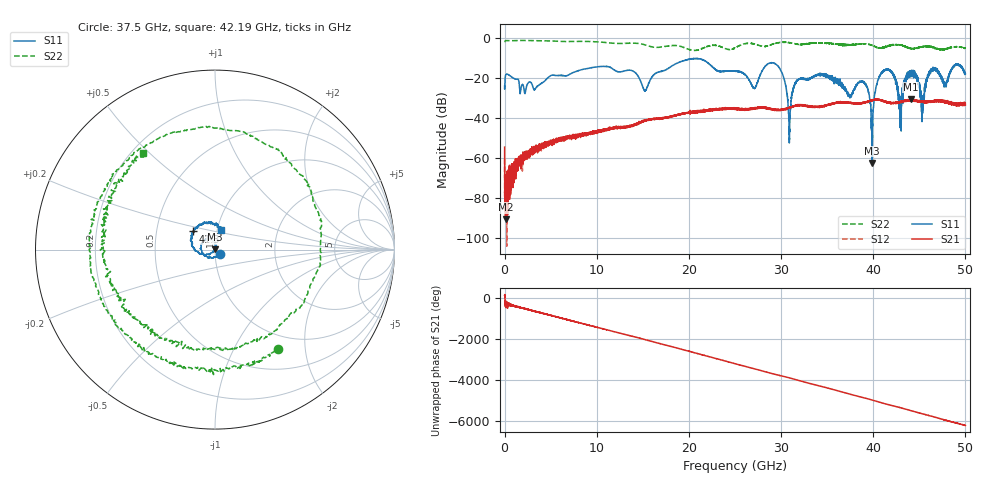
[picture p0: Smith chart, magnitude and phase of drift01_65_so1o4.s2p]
!Created with skrf (http://scikit-rf.org).
# Hz S RI R 50.0
!freq ReS11 ImS11 ReS21 ImS21 ReS12 ImS12 ReS22 ImS22
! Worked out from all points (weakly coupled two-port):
!   10001 points, 300 kHz to 50 GHz, reference 50 ohm
!   highest |S21| = -30.50 dB at 44.05 GHz (marker M1); lowest = -90.4 dB at 100.3 MHz (marker M2)
!   lowest |S11| = -62.4 dB at 39.89 GHz (marker M3), VSWR 1.00, Z = 50 + j0.0681 ohm
!   |S11| at or under -10 dB: start of sweep to end of sweep
!   |S22| runs from -6.4 to -1.4 dB; largest |S21 - S12| = 0.004
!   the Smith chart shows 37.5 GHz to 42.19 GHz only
!   S11 on the Smith chart (normalised r, x): 37.5 GHz: 1.06, -0.05; 41.3 GHz: 0.77, +0.16; 42.19 GHz: 1.04, +0.23
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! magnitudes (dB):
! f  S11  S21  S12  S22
! 300 kHz  -24.1  -54.5  -60.2  -2.1
! 100.3 MHz  -18.8  -90.4  -73.0  -1.5
! 8.335 GHz  -15.9  -48.3  -48.2  -1.8
! 15.23 GHz  -26.5  -41.3  -41.3  -3.5
! 16.67 GHz  -17.1  -40.5  -40.3  -4.8
! 25 GHz  -16.6  -35.7  -35.3  -5.0
! 27.09 GHz  -25.2  -35.1  -35.2  -3.0
! 29.44 GHz  -13.2  -35.8  -36.0  -2.7
! 30.92 GHz  -48.4  -34.8  -34.8  -2.5
! 31.67 GHz  -21.8  -33.6  -33.6  -3.2
! 33.34 GHz  -19.7  -34.4  -34.4  -2.7
! 37.5 GHz  -29.0  -32.5  -32.5  -3.7
! 38.99 GHz  -22.2  -32.5  -32.4  -3.1
! 39.89 GHz  -62.4  -31.1  -31.0  -3.8
! 41.3 GHz  -16.1  -31.9  -31.9  -4.5
! 41.67 GHz  -15.7  -32.2  -32.5  -4.0
! 42.19 GHz  -18.8  -32.6  -32.6  -3.5
! 42.97 GHz  -33.2  -32.2  -32.0  -3.6
! 44.05 GHz  -18.1  -30.5  -31.0  -5.3
! 45.31 GHz  -41.6  -31.7  -32.0  -4.3
! 46.37 GHz  -15.6  -31.4  -31.7  -4.6
! 50 GHz  -18.1  -33.7  -32.6  -5.3
